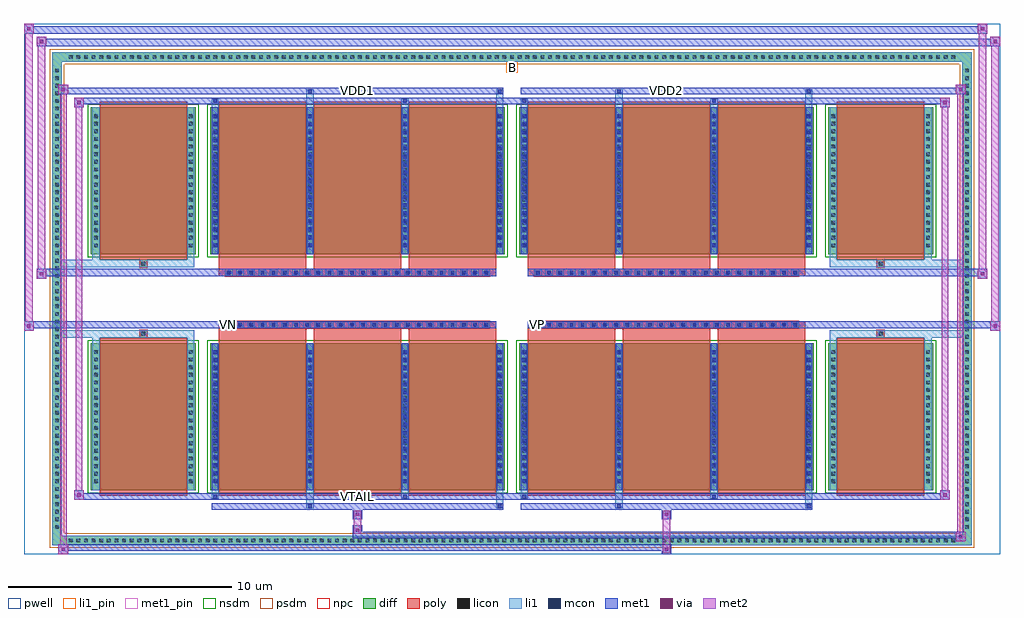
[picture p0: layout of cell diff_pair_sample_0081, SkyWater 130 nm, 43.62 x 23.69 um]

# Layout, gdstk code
import gdstk
lib = gdstk.Library(unit=1e-6, precision=5e-09)
def R(c, l, rs):  # rectangles x0, y0, x1, y1
    for r in rs: c.add(gdstk.rectangle(r[:2], r[2:], *l))
def A(c, l, x, y, w, h, nx, ny, dx, dy):  # array of equal rectangles
    R(c, l, [(x+i*dx, y+j*dy, x+i*dx+w, y+j*dy+h) for i in range(nx) for j in range(ny)])
def P(c, l, *ps):  # polygons
    for p in ps: c.add(gdstk.Polygon(p, *l))
pwell = (64, 44)
diff = (65, 20)
poly = (66, 20)
licon = (66, 44)
li1_pin = (67, 16)
li1 = (67, 20)
mcon = (67, 44)
met1_pin = (68, 16)
met1 = (68, 20)
via = (68, 44)
met2 = (69, 20)
nsdm = (93, 44)
psdm = (94, 20)
npc = (95, 20)

diff_pair_sample_0081 = lib.new_cell('diff_pair_sample_0081')
R(diff_pair_sample_0081, pwell, [(-21.81,-11.41,21.81,12.28), (-19.13,-9.6,-0.01,-0.8), (0.01,-9.6,19.13,-0.8), (-19.13,0.8,-0.01,9.6), (0.01,0.8,19.13,9.6)])
A(diff_pair_sample_0081, diff, -19.925, -11.01, 0.41, 0.41, 117, 2, 0.34, 21.61)
A(diff_pair_sample_0081, diff, -20.54, -10.405, 0.41, 0.41, 1, 61, 0, 0.34)
A(diff_pair_sample_0081, diff, 20.13, -10.405, 0.41, 0.41, 1, 61, 0, 0.34)
R(diff_pair_sample_0081, diff, [(-19.925,-11.01,19.925,-10.6), (-20.54,-10.405,-20.13,10.405), (20.13,-10.405,20.54,10.405), (-18.82,-8.555,-14.13,-1.985), (-13.49,-8.555,-0.32,-1.985), (0.32,-8.555,13.49,-1.985), (14.13,-8.555,18.82,-1.985), (-18.82,1.985,-14.13,8.555), (-13.49,1.985,-0.32,8.555), (0.32,1.985,13.49,8.555), (14.13,1.985,18.82,8.555), (-19.925,10.6,19.925,11.01)])
P(diff_pair_sample_0081, diff, [(20.54,11.01),(-20.54,11.01),(-20.54,-10.6),(-20.13,-10.6),(-20.13,10.6),(20.13,10.6),(20.13,-10.6),(-20.13,-10.6),(-20.54,-10.6),(-20.54,-11.01),(20.54,-11.01)])
A(diff_pair_sample_0081, poly, -13.1, -8.805, 3.91, 7.07, 3, 2, 4.24, 10.54)
A(diff_pair_sample_0081, poly, 0.71, -8.805, 3.91, 7.07, 3, 2, 4.24, 10.54)
A(diff_pair_sample_0081, poly, -13.1, -1.735, 3.91, 0.405, 3, 2, 4.24, 3.065)
A(diff_pair_sample_0081, poly, 0.71, -1.735, 3.91, 0.405, 3, 2, 4.24, 3.065)
A(diff_pair_sample_0081, poly, -12.82, -1.33, 0.33, 0.33, 24, 2, 0.5, 2.33)
A(diff_pair_sample_0081, poly, 0.99, -1.33, 0.33, 0.33, 24, 2, 0.5, 2.33)
R(diff_pair_sample_0081, poly, [(-18.43,-8.805,-14.52,-1.735), (14.52,-8.805,18.43,-1.735), (-16.64,-1.735,-16.31,-1.405), (-16.64,-1.735,-16.31,-1.405), (16.31,-1.735,16.64,-1.405), (16.31,-1.735,16.64,-1.405), (-13.1,-1.33,-0.71,-1), (0.71,-1.33,13.1,-1), (-13.1,1,-0.71,1.33), (0.71,1,13.1,1.33), (-16.64,1.405,-16.31,1.735), (-16.64,1.405,-16.31,1.735), (16.31,1.405,16.64,1.735), (16.31,1.405,16.64,1.735), (-18.43,1.735,-14.52,8.805), (14.52,1.735,18.43,8.805)])
A(diff_pair_sample_0081, licon, -19.805, -10.89, 0.17, 0.17, 117, 2, 0.34, 21.61)
A(diff_pair_sample_0081, licon, -20.42, -10.285, 0.17, 0.17, 1, 61, 0, 0.34)
A(diff_pair_sample_0081, licon, 20.25, -10.285, 0.17, 0.17, 1, 61, 0, 0.34)
A(diff_pair_sample_0081, licon, -18.68, -8.245, 0.17, 0.17, 1, 18, 0, 0.34)
A(diff_pair_sample_0081, licon, -14.44, -8.245, 0.17, 0.17, 1, 18, 0, 0.34)
A(diff_pair_sample_0081, licon, -13.35, -8.245, 0.17, 0.17, 4, 18, 4.24, 0.34)
A(diff_pair_sample_0081, licon, 0.46, -8.245, 0.17, 0.17, 4, 18, 4.24, 0.34)
A(diff_pair_sample_0081, licon, 14.27, -8.245, 0.17, 0.17, 1, 18, 0, 0.34)
A(diff_pair_sample_0081, licon, 18.51, -8.245, 0.17, 0.17, 1, 18, 0, 0.34)
A(diff_pair_sample_0081, licon, -12.74, -1.25, 0.17, 0.17, 24, 2, 0.5, 2.33)
A(diff_pair_sample_0081, licon, 1.07, -1.25, 0.17, 0.17, 24, 2, 0.5, 2.33)
A(diff_pair_sample_0081, licon, -18.68, 2.295, 0.17, 0.17, 1, 18, 0, 0.34)
A(diff_pair_sample_0081, licon, -14.44, 2.295, 0.17, 0.17, 1, 18, 0, 0.34)
A(diff_pair_sample_0081, licon, -13.35, 2.295, 0.17, 0.17, 4, 18, 4.24, 0.34)
A(diff_pair_sample_0081, licon, 0.46, 2.295, 0.17, 0.17, 4, 18, 4.24, 0.34)
A(diff_pair_sample_0081, licon, 14.27, 2.295, 0.17, 0.17, 1, 18, 0, 0.34)
A(diff_pair_sample_0081, licon, 18.51, 2.295, 0.17, 0.17, 1, 18, 0, 0.34)
R(diff_pair_sample_0081, licon, [(-16.56,-1.655,-16.39,-1.485), (16.39,-1.655,16.56,-1.485), (-16.56,1.485,-16.39,1.655), (16.39,1.485,16.56,1.655)])
R(diff_pair_sample_0081, li1_pin, [(-0.25,10.1,0.25,10.6)])
A(diff_pair_sample_0081, li1, -19.885, -10.97, 0.33, 0.33, 117, 2, 0.34, 21.61)
A(diff_pair_sample_0081, li1, -20.5, -10.365, 0.33, 0.33, 1, 61, 0, 0.34)
A(diff_pair_sample_0081, li1, 20.17, -10.365, 0.33, 0.33, 1, 61, 0, 0.34)
A(diff_pair_sample_0081, li1, -13.43, -8.555, 0.33, 6.57, 4, 2, 4.24, 10.54)
A(diff_pair_sample_0081, li1, 0.38, -8.555, 0.33, 6.57, 4, 2, 4.24, 10.54)
A(diff_pair_sample_0081, li1, -18.76, -8.325, 0.33, 0.33, 1, 18, 0, 0.34)
A(diff_pair_sample_0081, li1, -14.52, -8.325, 0.33, 0.33, 1, 18, 0, 0.34)
A(diff_pair_sample_0081, li1, -13.43, -8.325, 0.33, 0.33, 4, 18, 4.24, 0.34)
A(diff_pair_sample_0081, li1, 0.38, -8.325, 0.33, 0.33, 4, 18, 4.24, 0.34)
A(diff_pair_sample_0081, li1, 14.19, -8.325, 0.33, 0.33, 1, 18, 0, 0.34)
A(diff_pair_sample_0081, li1, 18.43, -8.325, 0.33, 0.33, 1, 18, 0, 0.34)
A(diff_pair_sample_0081, li1, -13.35, -8.235, 0.17, 0.17, 4, 17, 4.24, 0.36)
A(diff_pair_sample_0081, li1, -13.35, -8.235, 0.17, 5.93, 4, 2, 4.24, 10.54)
A(diff_pair_sample_0081, li1, 0.46, -8.235, 0.17, 0.17, 4, 17, 4.24, 0.36)
A(diff_pair_sample_0081, li1, 0.46, -8.235, 0.17, 5.93, 4, 2, 4.24, 10.54)
A(diff_pair_sample_0081, li1, -12.82, -1.33, 0.33, 0.33, 24, 2, 0.5, 2.33)
A(diff_pair_sample_0081, li1, 0.99, -1.33, 0.33, 0.33, 24, 2, 0.5, 2.33)
A(diff_pair_sample_0081, li1, -18.76, 2.215, 0.33, 0.33, 1, 18, 0, 0.34)
A(diff_pair_sample_0081, li1, -14.52, 2.215, 0.33, 0.33, 1, 18, 0, 0.34)
A(diff_pair_sample_0081, li1, -13.43, 2.215, 0.33, 0.33, 4, 18, 4.24, 0.34)
A(diff_pair_sample_0081, li1, 0.38, 2.215, 0.33, 0.33, 4, 18, 4.24, 0.34)
A(diff_pair_sample_0081, li1, 14.19, 2.215, 0.33, 0.33, 1, 18, 0, 0.34)
A(diff_pair_sample_0081, li1, 18.43, 2.215, 0.33, 0.33, 1, 18, 0, 0.34)
A(diff_pair_sample_0081, li1, -13.35, 2.305, 0.17, 0.17, 4, 17, 4.24, 0.36)
A(diff_pair_sample_0081, li1, 0.46, 2.305, 0.17, 0.17, 4, 17, 4.24, 0.36)
R(diff_pair_sample_0081, li1, [(-20.54,-11.01,-20.13,-10.6), (-20.54,-11.01,-20.13,-10.6), (-20.13,-11.01,20.13,-10.6), (20.13,-11.01,20.54,-10.6), (20.13,-11.01,20.54,-10.6), (-20.54,-10.6,-20.13,10.6), (20.13,-10.6,20.54,10.6), (-9.19,-9.36,-8.86,-8.555), (-9.11,-9.36,-8.94,-9.19), (-0.71,-9.36,-0.38,-8.555), (-0.63,-9.36,-0.46,-9.19), (4.62,-9.36,4.95,-8.555), (4.7,-9.36,4.87,-9.19), (13.1,-9.36,13.43,-8.555), (13.18,-9.36,13.35,-9.19), (-13.43,-8.93,-13.1,-8.555), (-13.35,-8.93,-13.18,-8.76), (-4.95,-8.93,-4.62,-8.555), (-4.87,-8.93,-4.7,-8.76), (0.38,-8.93,0.71,-8.555), (0.46,-8.93,0.63,-8.76), (8.86,-8.93,9.19,-8.555), (8.94,-8.93,9.11,-8.76), (-18.76,-8.555,-18.43,-1.985), (-14.52,-8.555,-14.19,-1.985), (14.19,-8.555,14.52,-1.985), (18.43,-8.555,18.76,-1.985), (-18.76,-1.985,-18.43,-1.405), (-14.52,-1.985,-14.19,-1.405), (14.19,-1.985,14.52,-1.405), (18.43,-1.985,18.76,-1.405), (-20.54,-1.735,-16.64,-1.405), (-18.76,-1.735,-16.64,-1.405), (-16.64,-1.735,-16.31,-1.405), (-16.31,-1.735,-14.19,-1.405), (14.19,-1.735,16.31,-1.405), (16.31,-1.735,16.64,-1.405), (16.31,-1.735,20.54,-1.405), (16.64,-1.735,18.76,-1.405), (-20.54,1.405,-16.64,1.735), (-18.76,1.405,-16.64,1.735), (-18.76,1.405,-18.43,1.985), (-16.64,1.405,-16.31,1.735), (-16.31,1.405,-14.19,1.735), (-14.52,1.405,-14.19,1.985), (14.19,1.405,16.31,1.735), (14.19,1.405,14.52,1.985), (16.31,1.405,16.64,1.735), (16.31,1.405,20.54,1.735), (16.64,1.405,18.76,1.735), (18.43,1.405,18.76,1.985), (-18.76,1.985,-18.43,8.555), (-14.52,1.985,-14.19,8.555), (14.19,1.985,14.52,8.555), (18.43,1.985,18.76,8.555), (-13.43,8.555,-13.1,8.93), (-9.19,8.555,-8.86,9.36), (-4.95,8.555,-4.62,8.93), (-0.71,8.555,-0.38,9.36), (0.38,8.555,0.71,8.93), (4.62,8.555,4.95,9.36), (8.86,8.555,9.19,8.93), (13.1,8.555,13.43,9.36), (-13.35,8.76,-13.18,8.93), (-4.87,8.76,-4.7,8.93), (0.46,8.76,0.63,8.93), (8.94,8.76,9.11,8.93), (-9.11,9.19,-8.94,9.36), (-0.63,9.19,-0.46,9.36), (4.7,9.19,4.87,9.36), (13.18,9.19,13.35,9.36), (-20.54,10.6,-20.13,11.01), (-20.54,10.6,-20.13,11.01), (-20.13,10.6,20.13,11.01), (20.13,10.6,20.54,11.01), (20.13,10.6,20.54,11.01)])
A(diff_pair_sample_0081, mcon, -13.35, -8.235, 0.17, 0.17, 4, 17, 4.24, 0.36)
A(diff_pair_sample_0081, mcon, 0.46, -8.235, 0.17, 0.17, 4, 17, 4.24, 0.36)
A(diff_pair_sample_0081, mcon, -12.74, -1.25, 0.17, 0.17, 24, 2, 0.5, 2.33)
A(diff_pair_sample_0081, mcon, 1.07, -1.25, 0.17, 0.17, 24, 2, 0.5, 2.33)
A(diff_pair_sample_0081, mcon, -13.35, 2.305, 0.17, 0.17, 4, 17, 4.24, 0.36)
A(diff_pair_sample_0081, mcon, 0.46, 2.305, 0.17, 0.17, 4, 17, 4.24, 0.36)
R(diff_pair_sample_0081, mcon, [(-9.11,-9.36,-8.94,-9.19), (-0.63,-9.36,-0.46,-9.19), (4.7,-9.36,4.87,-9.19), (13.18,-9.36,13.35,-9.19), (-13.35,-8.93,-13.18,-8.76), (-4.87,-8.93,-4.7,-8.76), (0.46,-8.93,0.63,-8.76), (8.94,-8.93,9.11,-8.76), (-13.35,8.76,-13.18,8.93), (-4.87,8.76,-4.7,8.93), (0.46,8.76,0.63,8.93), (8.94,8.76,9.11,8.93), (-9.11,9.19,-8.94,9.36), (-0.63,9.19,-0.46,9.36), (4.7,9.19,4.87,9.36), (13.18,9.19,13.35,9.36)])
R(diff_pair_sample_0081, met1_pin, [(-7.04,-8.97,-6.77,-8.7), (-12.79,-1.29,-12.52,-1.02), (1.02,-1.29,1.29,-1.02), (-7.04,9.15,-6.77,9.42), (6.77,9.15,7.04,9.42)])
A(diff_pair_sample_0081, met1, -13.41, -8.555, 0.29, 6.57, 4, 2, 4.24, 10.54)
A(diff_pair_sample_0081, met1, 0.4, -8.555, 0.29, 6.57, 4, 2, 4.24, 10.54)
A(diff_pair_sample_0081, met1, -13.41, -8.295, 0.29, 0.29, 4, 17, 4.24, 0.36)
A(diff_pair_sample_0081, met1, 0.4, -8.295, 0.29, 0.29, 4, 17, 4.24, 0.36)
A(diff_pair_sample_0081, met1, -12.8, -1.31, 0.29, 0.29, 24, 2, 0.5, 2.33)
A(diff_pair_sample_0081, met1, 1.01, -1.31, 0.29, 0.29, 24, 2, 0.5, 2.33)
A(diff_pair_sample_0081, met1, -13.41, 2.245, 0.29, 0.29, 4, 17, 4.24, 0.36)
A(diff_pair_sample_0081, met1, 0.4, 2.245, 0.29, 0.29, 4, 17, 4.24, 0.36)
R(diff_pair_sample_0081, met1, [(-20.27,-11.41,-19.84,-10.98), (6.69,-11.41,7.12,-10.98), (-20.27,-11.27,7.12,-10.98), (19.84,-10.84,20.27,-10.41), (-7.12,-10.7,20.27,-10.41), (-7.12,-10.56,-6.69,-10.13), (-7.12,-9.85,-6.69,-9.42), (6.69,-9.85,7.12,-9.42), (-13.41,-9.42,-0.4,-9.13), (-9.17,-9.42,-8.88,-9.13), (-0.69,-9.42,-0.4,-9.13), (0.4,-9.42,13.41,-9.13), (4.64,-9.42,4.93,-9.13), (13.12,-9.42,13.41,-9.13), (-19.56,-8.99,-19.13,-8.56), (-19.56,-8.99,-13.41,-8.7), (-13.41,-8.99,-13.12,-8.7), (-13.41,-8.99,-0.4,-8.7), (-4.93,-8.99,-4.64,-8.7), (-0.4,-8.99,0.4,-8.7), (0.4,-8.99,0.69,-8.7), (0.4,-8.99,13.41,-8.7), (8.88,-8.99,9.17,-8.7), (13.41,-8.99,19.56,-8.7), (19.13,-8.99,19.56,-8.56), (-21.81,-1.43,-21.38,-1), (21.38,-1.43,21.81,-1), (-21.81,-1.33,-0.71,-1), (-13.1,-1.33,-0.71,-1), (0.71,-1.33,13.1,-1), (0.71,-1.33,21.81,-1), (-21.24,0.9,-20.81,1.33), (20.81,0.9,21.24,1.33), (-21.24,1,-13.1,1.33), (-13.1,1,-0.71,1.33), (0.71,1,13.1,1.33), (13.1,1,21.24,1.33), (-19.56,8.56,-19.13,8.99), (19.13,8.56,19.56,8.99), (-19.56,8.7,-13.41,8.99), (-13.41,8.7,-13.12,8.99), (-13.41,8.7,-0.4,8.99), (-4.93,8.7,-4.64,8.99), (-0.4,8.7,0.4,8.99), (0.4,8.7,0.69,8.99), (0.4,8.7,13.41,8.99), (8.88,8.7,9.17,8.99), (13.41,8.7,19.56,8.99), (-20.27,9.13,-19.84,9.56), (-20.27,9.13,-13.41,9.42), (-13.41,9.13,-0.4,9.42), (-9.17,9.13,-8.88,9.42), (-0.69,9.13,-0.4,9.42), (0.4,9.13,13.41,9.42), (4.64,9.13,4.93,9.42), (13.12,9.13,13.41,9.42), (13.41,9.13,20.27,9.42), (19.84,9.13,20.27,9.56), (-21.24,11.28,-20.81,11.71), (-21.24,11.28,-19.13,11.61), (-19.13,11.28,19.13,11.61), (19.13,11.28,21.81,11.61), (21.38,11.28,21.81,11.71), (-21.81,11.85,-21.38,12.28), (-21.81,11.85,-19.13,12.18), (-19.13,11.85,19.13,12.18), (19.13,11.85,21.24,12.18), (20.81,11.85,21.24,12.28)])
R(diff_pair_sample_0081, via, [(-20.13,-11.27,-19.98,-11.12), (6.83,-11.27,6.98,-11.12), (19.98,-10.7,20.13,-10.55), (-6.98,-10.42,-6.83,-10.27), (-6.98,-9.71,-6.83,-9.56), (6.83,-9.71,6.98,-9.56), (-19.42,-8.85,-19.27,-8.7), (19.27,-8.85,19.42,-8.7), (-21.67,-1.29,-21.52,-1.14), (21.52,-1.29,21.67,-1.14), (-21.1,1.04,-20.95,1.19), (20.95,1.04,21.1,1.19), (-19.42,8.7,-19.27,8.85), (19.27,8.7,19.42,8.85), (-20.13,9.27,-19.98,9.42), (19.98,9.27,20.13,9.42), (-21.1,11.42,-20.95,11.57), (21.52,11.42,21.67,11.57), (-21.67,11.99,-21.52,12.14), (20.95,11.99,21.1,12.14)])
R(diff_pair_sample_0081, met2, [(-20.27,-11.41,-19.84,-10.98), (-20.2,-11.41,-19.91,9.56), (-19.91,-11.41,-19.84,-10.98), (-20.22,-11.36,-19.89,-11.03), (6.74,-11.36,7.07,-11.03), (6.74,-11.03,7.07,-9.8), (19.84,-10.84,20.27,-10.41), (19.91,-10.84,20.2,9.56), (20.2,-10.84,20.27,-10.41), (19.89,-10.79,20.22,-10.46), (-7.07,-10.51,-6.74,-10.18), (-7.07,-10.18,-6.74,-9.8), (-7.07,-9.8,-6.74,-9.47), (6.74,-9.8,7.07,-9.47), (-19.56,-8.99,-19.13,-8.56), (-19.49,-8.99,-19.2,8.99), (-19.2,-8.99,-19.13,-8.56), (19.13,-8.99,19.56,-8.56), (19.2,-8.99,19.49,8.99), (19.49,-8.99,19.56,-8.56), (-19.51,-8.94,-19.18,-8.61), (19.18,-8.94,19.51,-8.61), (-21.81,-1.43,-21.38,-1), (-21.76,-1.43,-21.43,12.28), (-21.43,-1.43,-21.38,-1), (21.38,-1.43,21.81,-1), (21.43,-1.43,21.76,11.71), (21.76,-1.43,21.81,-1), (-21.76,-1.38,-21.43,-1.05), (21.43,-1.38,21.76,-1.05), (-21.24,0.9,-20.81,1.33), (-21.19,0.9,-20.86,11.71), (-20.86,0.9,-20.81,1.33), (20.81,0.9,21.24,1.33), (20.86,0.9,21.19,12.28), (21.19,0.9,21.24,1.33), (-21.19,0.95,-20.86,1.28), (20.86,0.95,21.19,1.28), (-19.56,8.56,-19.13,8.99), (-19.2,8.56,-19.13,8.99), (19.13,8.56,19.56,8.99), (19.49,8.56,19.56,8.99), (-19.51,8.61,-19.18,8.94), (19.18,8.61,19.51,8.94), (-20.27,9.13,-19.84,9.56), (-19.91,9.13,-19.84,9.56), (19.84,9.13,20.27,9.56), (20.2,9.13,20.27,9.56), (-20.22,9.18,-19.89,9.51), (19.89,9.18,20.22,9.51), (-21.24,11.28,-20.81,11.71), (-20.86,11.28,-20.81,11.71), (21.38,11.28,21.81,11.71), (21.76,11.28,21.81,11.71), (-21.19,11.33,-20.86,11.66), (21.43,11.33,21.76,11.66), (-21.81,11.85,-21.38,12.28), (-21.43,11.85,-21.38,12.28), (20.81,11.85,21.24,12.28), (21.19,11.85,21.24,12.28), (-21.76,11.9,-21.43,12.23), (20.86,11.9,21.19,12.23)])
R(diff_pair_sample_0081, nsdm, [(-18.95,-8.685,-14,-1.855), (-13.62,-8.685,-0.19,-1.855), (0.19,-8.685,13.62,-1.855), (14,-8.685,18.95,-1.855), (-18.95,1.855,-14,8.685), (-13.62,1.855,-0.19,8.685), (0.19,1.855,13.62,8.685), (14,1.855,18.95,8.685)])
P(diff_pair_sample_0081, psdm, [(20.67,11.14),(-20.67,11.14),(-20.67,-10.47),(-20,-10.47),(-20,10.47),(20,10.47),(20,-10.47),(-20,-10.47),(-20.67,-10.47),(-20.67,-11.14),(20.67,-11.14)])
A(diff_pair_sample_0081, npc, -12.84, -1.35, 0.37, 0.37, 24, 2, 0.5, 2.33)
A(diff_pair_sample_0081, npc, 0.97, -1.35, 0.37, 0.37, 24, 2, 0.5, 2.33)
R(diff_pair_sample_0081, npc, [(-16.66,-1.755,-16.29,-1.385), (16.29,-1.755,16.66,-1.385), (-12.84,-1.35,-11.97,-0.98), (-12.84,-1.35,-11.97,-0.98), (-12.34,-1.35,-11.47,-0.98), (-12.34,-1.35,-11.47,-0.98), (-11.84,-1.35,-10.97,-0.98), (-11.84,-1.35,-10.97,-0.98), (-11.34,-1.35,-10.47,-0.98), (-11.34,-1.35,-10.47,-0.98), (-10.84,-1.35,-9.97,-0.98), (-10.84,-1.35,-9.97,-0.98), (-10.34,-1.35,-9.47,-0.98), (-10.34,-1.35,-9.47,-0.98), (-9.84,-1.35,-8.97,-0.98), (-9.84,-1.35,-8.97,-0.98), (-9.34,-1.35,-8.47,-0.98), (-9.34,-1.35,-8.47,-0.98), (-8.84,-1.35,-7.97,-0.98), (-8.84,-1.35,-7.97,-0.98), (-8.34,-1.35,-7.47,-0.98), (-8.34,-1.35,-7.47,-0.98), (-7.84,-1.35,-6.97,-0.98), (-7.84,-1.35,-6.97,-0.98), (-7.34,-1.35,-6.47,-0.98), (-7.34,-1.35,-6.47,-0.98), (-6.84,-1.35,-5.97,-0.98), (-6.84,-1.35,-5.97,-0.98), (-6.34,-1.35,-5.47,-0.98), (-6.34,-1.35,-5.47,-0.98), (-5.84,-1.35,-4.97,-0.98), (-5.84,-1.35,-4.97,-0.98), (-5.34,-1.35,-4.47,-0.98), (-5.34,-1.35,-4.47,-0.98), (-4.84,-1.35,-3.97,-0.98), (-4.84,-1.35,-3.97,-0.98), (-4.34,-1.35,-3.47,-0.98), (-4.34,-1.35,-3.47,-0.98), (-3.84,-1.35,-2.97,-0.98), (-3.84,-1.35,-2.97,-0.98), (-3.34,-1.35,-2.47,-0.98), (-3.34,-1.35,-2.47,-0.98), (-2.84,-1.35,-1.97,-0.98), (-2.84,-1.35,-1.97,-0.98), (-2.34,-1.35,-1.47,-0.98), (-2.34,-1.35,-1.47,-0.98), (-1.84,-1.35,-0.97,-0.98), (-1.84,-1.35,-0.97,-0.98), (0.97,-1.35,1.84,-0.98), (0.97,-1.35,1.84,-0.98), (1.47,-1.35,2.34,-0.98), (1.47,-1.35,2.34,-0.98), (1.97,-1.35,2.84,-0.98), (1.97,-1.35,2.84,-0.98), (2.47,-1.35,3.34,-0.98), (2.47,-1.35,3.34,-0.98), (2.97,-1.35,3.84,-0.98), (2.97,-1.35,3.84,-0.98), (3.47,-1.35,4.34,-0.98), (3.47,-1.35,4.34,-0.98), (3.97,-1.35,4.84,-0.98), (3.97,-1.35,4.84,-0.98), (4.47,-1.35,5.34,-0.98), (4.47,-1.35,5.34,-0.98), (4.97,-1.35,5.84,-0.98), (4.97,-1.35,5.84,-0.98), (5.47,-1.35,6.34,-0.98), (5.47,-1.35,6.34,-0.98), (5.97,-1.35,6.84,-0.98), (5.97,-1.35,6.84,-0.98), (6.47,-1.35,7.34,-0.98), (6.47,-1.35,7.34,-0.98), (6.97,-1.35,7.84,-0.98), (6.97,-1.35,7.84,-0.98), (7.47,-1.35,8.34,-0.98), (7.47,-1.35,8.34,-0.98), (7.97,-1.35,8.84,-0.98), (7.97,-1.35,8.84,-0.98), (8.47,-1.35,9.34,-0.98), (8.47,-1.35,9.34,-0.98), (8.97,-1.35,9.84,-0.98), (8.97,-1.35,9.84,-0.98), (9.47,-1.35,10.34,-0.98), (9.47,-1.35,10.34,-0.98), (9.97,-1.35,10.84,-0.98), (9.97,-1.35,10.84,-0.98), (10.47,-1.35,11.34,-0.98), (10.47,-1.35,11.34,-0.98), (10.97,-1.35,11.84,-0.98), (10.97,-1.35,11.84,-0.98), (11.47,-1.35,12.34,-0.98), (11.47,-1.35,12.34,-0.98), (11.97,-1.35,12.84,-0.98), (11.97,-1.35,12.84,-0.98), (-12.84,0.98,-11.97,1.35), (-12.84,0.98,-11.97,1.35), (-12.34,0.98,-11.47,1.35), (-12.34,0.98,-11.47,1.35), (-11.84,0.98,-10.97,1.35), (-11.84,0.98,-10.97,1.35), (-11.34,0.98,-10.47,1.35), (-11.34,0.98,-10.47,1.35), (-10.84,0.98,-9.97,1.35), (-10.84,0.98,-9.97,1.35), (-10.34,0.98,-9.47,1.35), (-10.34,0.98,-9.47,1.35), (-9.84,0.98,-8.97,1.35), (-9.84,0.98,-8.97,1.35), (-9.34,0.98,-8.47,1.35), (-9.34,0.98,-8.47,1.35), (-8.84,0.98,-7.97,1.35), (-8.84,0.98,-7.97,1.35), (-8.34,0.98,-7.47,1.35), (-8.34,0.98,-7.47,1.35), (-7.84,0.98,-6.97,1.35), (-7.84,0.98,-6.97,1.35), (-7.34,0.98,-6.47,1.35), (-7.34,0.98,-6.47,1.35), (-6.84,0.98,-5.97,1.35), (-6.84,0.98,-5.97,1.35), (-6.34,0.98,-5.47,1.35), (-6.34,0.98,-5.47,1.35), (-5.84,0.98,-4.97,1.35), (-5.84,0.98,-4.97,1.35), (-5.34,0.98,-4.47,1.35), (-5.34,0.98,-4.47,1.35), (-4.84,0.98,-3.97,1.35), (-4.84,0.98,-3.97,1.35), (-4.34,0.98,-3.47,1.35), (-4.34,0.98,-3.47,1.35), (-3.84,0.98,-2.97,1.35), (-3.84,0.98,-2.97,1.35), (-3.34,0.98,-2.47,1.35), (-3.34,0.98,-2.47,1.35), (-2.84,0.98,-1.97,1.35), (-2.84,0.98,-1.97,1.35), (-2.34,0.98,-1.47,1.35), (-2.34,0.98,-1.47,1.35), (-1.84,0.98,-0.97,1.35), (-1.84,0.98,-0.97,1.35), (0.97,0.98,1.84,1.35), (0.97,0.98,1.84,1.35), (1.47,0.98,2.34,1.35), (1.47,0.98,2.34,1.35), (1.97,0.98,2.84,1.35), (1.97,0.98,2.84,1.35), (2.47,0.98,3.34,1.35), (2.47,0.98,3.34,1.35), (2.97,0.98,3.84,1.35), (2.97,0.98,3.84,1.35), (3.47,0.98,4.34,1.35), (3.47,0.98,4.34,1.35), (3.97,0.98,4.84,1.35), (3.97,0.98,4.84,1.35), (4.47,0.98,5.34,1.35), (4.47,0.98,5.34,1.35), (4.97,0.98,5.84,1.35), (4.97,0.98,5.84,1.35), (5.47,0.98,6.34,1.35), (5.47,0.98,6.34,1.35), (5.97,0.98,6.84,1.35), (5.97,0.98,6.84,1.35), (6.47,0.98,7.34,1.35), (6.47,0.98,7.34,1.35), (6.97,0.98,7.84,1.35), (6.97,0.98,7.84,1.35), (7.47,0.98,8.34,1.35), (7.47,0.98,8.34,1.35), (7.97,0.98,8.84,1.35), (7.97,0.98,8.84,1.35), (8.47,0.98,9.34,1.35), (8.47,0.98,9.34,1.35), (8.97,0.98,9.84,1.35), (8.97,0.98,9.84,1.35), (9.47,0.98,10.34,1.35), (9.47,0.98,10.34,1.35), (9.97,0.98,10.84,1.35), (9.97,0.98,10.84,1.35), (10.47,0.98,11.34,1.35), (10.47,0.98,11.34,1.35), (10.97,0.98,11.84,1.35), (10.97,0.98,11.84,1.35), (11.47,0.98,12.34,1.35), (11.47,0.98,12.34,1.35), (11.97,0.98,12.84,1.35), (11.97,0.98,12.84,1.35), (-16.66,1.385,-16.29,1.755), (16.29,1.385,16.66,1.755)])
diff_pair_sample_0081.add(gdstk.Label('VTAIL', (-6.905,-8.835), layer=68, texttype=5))
diff_pair_sample_0081.add(gdstk.Label('VN', (-12.655,-1.155), layer=68, texttype=5))
diff_pair_sample_0081.add(gdstk.Label('VP', (1.155,-1.155), layer=68, texttype=5))
diff_pair_sample_0081.add(gdstk.Label('B', (0,10.35), layer=67, texttype=5))
diff_pair_sample_0081.add(gdstk.Label('VDD2', (6.905,9.285), layer=68, texttype=5))
diff_pair_sample_0081.add(gdstk.Label('VDD1', (-6.905,9.285), layer=68, texttype=5))

lib.write_gds('diff_pair_sample_0081.gds')
